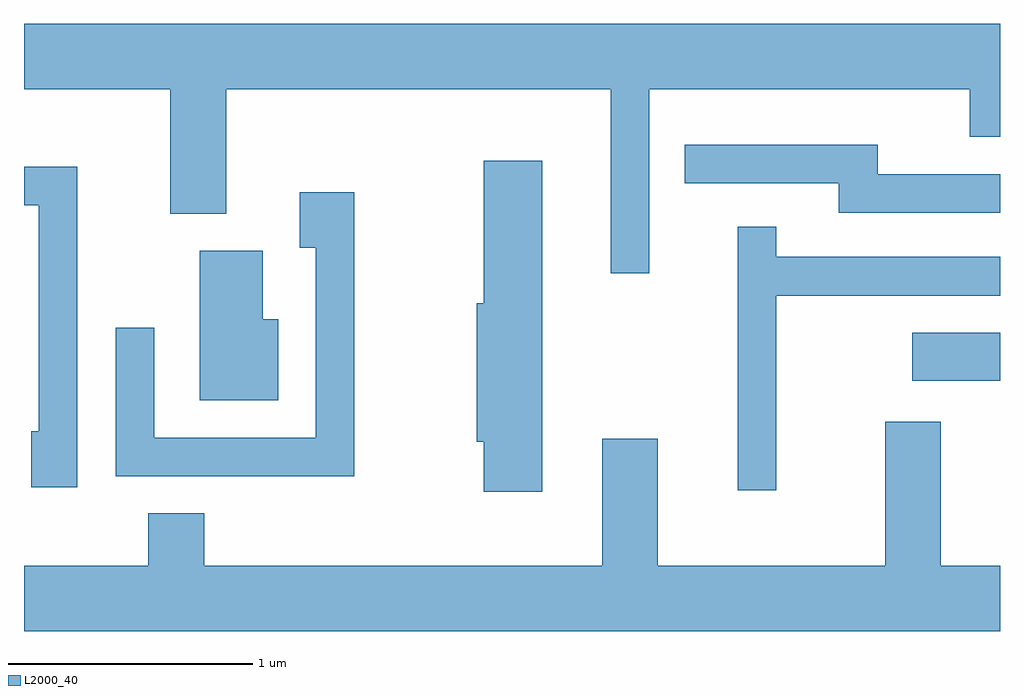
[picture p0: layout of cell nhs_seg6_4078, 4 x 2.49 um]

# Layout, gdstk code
import gdstk
lib = gdstk.Library(unit=1e-6, precision=1e-09)
def R(c, l, rs):  # rectangles x0, y0, x1, y1
    for r in rs: c.add(gdstk.rectangle(r[:2], r[2:], *l))
def P(c, l, *ps):  # polygons
    for p in ps: c.add(gdstk.Polygon(p, *l))
L2000_40 = (2000, 40)

nhs_seg6_4078 = lib.new_cell('nhs_seg6_4078')
R(nhs_seg6_4078, L2000_40, [(313.251,1562.161,313.611,1562.359)])
P(nhs_seg6_4078, L2000_40, [(312.174,1563.356),(313.486,1563.356),(313.486,1563.161),(313.611,1563.161),(313.611,1563.624),(309.611,1563.624),(309.611,1563.356),(310.211,1563.356),(310.211,1562.846),(310.439,1562.846),(310.439,1563.356),(312.016,1563.356),(312.016,1562.603),(312.174,1562.603)],
  [(313.611,1563.009),(313.109,1563.009),(313.109,1563.129),(312.318,1563.129),(312.318,1562.971),(312.951,1562.971),(312.951,1562.851),(313.611,1562.851)],
  [(311.734,1563.064),(311.496,1563.064),(311.496,1562.479),(311.466,1562.479),(311.466,1561.911),(311.496,1561.911),(311.496,1561.706),(311.734,1561.706)],
  [(309.829,1563.039),(309.611,1563.039),(309.611,1562.881),(309.671,1562.881),(309.671,1561.954),(309.641,1561.954),(309.641,1561.726),(309.829,1561.726)],
  [(310.964,1562.934),(310.741,1562.934),(310.741,1562.706),(310.806,1562.706),(310.806,1561.929),(310.144,1561.929),(310.144,1562.378),(309.986,1562.378),(309.986,1561.771),(310.964,1561.771)],
  [(312.694,1562.511),(313.611,1562.511),(313.611,1562.669),(312.694,1562.669),(312.694,1562.793),(312.536,1562.793),(312.536,1561.713),(312.694,1561.713)],
  [(310.654,1562.414),(310.589,1562.414),(310.589,1562.694),(310.331,1562.694),(310.331,1562.081),(310.654,1562.081)],
  [(313.611,1561.404),(313.369,1561.404),(313.369,1561.994),(313.141,1561.994),(313.141,1561.404),(312.209,1561.404),(312.209,1561.924),(311.981,1561.924),(311.981,1561.404),(310.349,1561.404),(310.349,1561.619),(310.121,1561.619),(310.121,1561.404),(309.611,1561.404),(309.611,1561.136),(313.611,1561.136)])

lib.write_gds('nhs_seg6_4078.gds')
